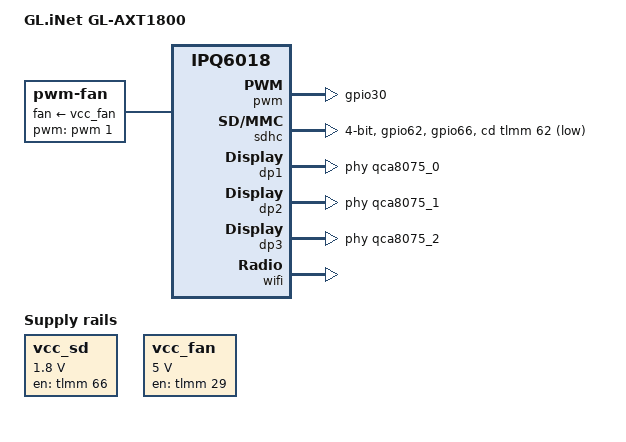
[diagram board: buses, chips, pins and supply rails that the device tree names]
// SPDX-License-Identifier: GPL-2.0-or-later OR MIT

/dts-v1/;

#include "ipq6000-glinet.dtsi"

/ {
	model = "GL.iNet GL-AXT1800";
	compatible = "glinet,gl-axt1800", "qcom,ipq6018";

	aliases {
		ethernet0 = &dp1;
		ethernet1 = &dp3;
		label-mac-device = &dp1;
	};

	vcc_sd: regulator-vcc-sd {
		compatible = "regulator-fixed";
		regulator-name = "vcc_sd";
		regulator-min-microvolt = <1800000>;
		regulator-max-microvolt = <1800000>;
		gpios = <&tlmm 66 GPIO_ACTIVE_HIGH>;
		enable-active-high;
		regulator-always-on;
	};

	vcc_fan: regulator-vcc-fan {
		compatible = "regulator-fixed";
		regulator-name = "vcc_fan";
		regulator-min-microvolt = <5000000>;
		regulator-max-microvolt = <5000000>;
		gpio = <&tlmm 29 GPIO_ACTIVE_HIGH>;
		enable-active-high;
		regulator-boot-on;
	};

	fan: pwm-fan {
		compatible = "pwm-fan";
		fan-supply = <&vcc_fan>;
		pwms = <&pwm 1 40000 0>;
		pinctrl-0 = <&fan_pins>;
		pinctrl-names = "default";
		cooling-levels = <36 128 192 255>;
		#cooling-cells = <2>;
	};
};

&tlmm {
	fan_pins: fan-pins {
		speed {
			pins = "gpio31";
			function = "gpio";
			drive-strength = <8>;
			bias-pull-down;
		};
	};

	pwm_pins: pwm-pins {
		pwm {
			pins = "gpio30";
			function = "pwm13";
			drive-strength = <8>;
		};
	};

	sd_pins: sd-pins {
		sd {
			pins = "gpio62";
			function = "sd_card";
			bias-pull-up;
		};
		ldo {
			pins = "gpio66";
			function = "gpio";
			bias-pull-up;
		};
	};
};

&pwm {
	pinctrl-0 = <&pwm_pins>;
	pinctrl-names = "default";
	status = "okay";
};

&sdhc {
	mmc-ddr-1_8v;
	bus-width = <4>;
	cd-gpios = <&tlmm 62 GPIO_ACTIVE_LOW>;
	pinctrl-0 = <&sd_pins>;
	pinctrl-names = "default";
	vqmmc-supply = <&vcc_sd>;
	status = "okay";
};

&switch {
	switch_lan_bmp = <0x0c>; /* lan port bitmap */
	switch_wan_bmp = <0x02>; /* wan port bitmap */
};

&dp1 {
	status = "okay";
	phy-handle = <&qca8075_0>;
	label = "wan";
};

&dp2 {
	status = "okay";
	phy-handle = <&qca8075_1>;
	label = "lan2";
};

&dp3 {
	status = "okay";
	phy-handle = <&qca8075_2>;
	label = "lan1";
};

&wifi {
	qcom,ath11k-calibration-variant = "GL-iNet-GL-AXT1800";
};
